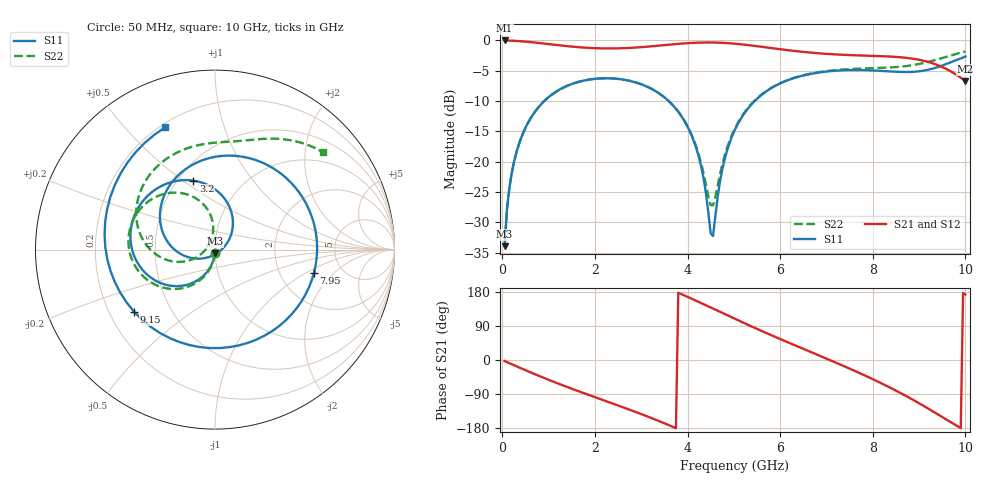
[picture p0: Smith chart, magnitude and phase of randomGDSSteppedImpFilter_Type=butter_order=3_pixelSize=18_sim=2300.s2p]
! freq	dB(S11)	phase(S11)	dB(S12)	phase(S12)
!  dB(S21)	phase(S21)	dB(S22)	phase(S22)
!S-par simulation data
#  GHz  S  DB  R 50
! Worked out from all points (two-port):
!   200 points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, 50 MHz to 10 GHz, reference 50 ohm
!   highest |S21| = -0.01 dB at 50 MHz (marker M1); lowest = -6.7 dB at 10 GHz (marker M2)
!   |S21| within 3 dB of the highest: start of sweep to 8.856 GHz
!   lowest |S11| = -33.9 dB at 50 MHz (marker M3), VSWR 1.04, Z = 49.9 - j2 ohm
!   |S11| at or under -10 dB: start of sweep to 906.3 MHz; 3.592 GHz to 5.45 GHz (1.858 GHz wide, 41.1 % of centre)
!   |S22| runs from -33.9 to -1.8 dB; largest |S21 - S12| = 0
!   S11 on the Smith chart (normalised r, x): 50 MHz: 1.00, -0.04; 3.2 GHz: 0.60, +0.55; 7.95 GHz: 3.11, -1.19; 9.15 GHz: 0.30, -0.31; 10 GHz: 0.22, +0.65
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0.05  -33.94 -92.9  -0.01 -2.8  -0.01 -2.8  -33.93 -92.7
0.1  -27.96 -95.9  -0.02 -5.5  -0.02 -5.5  -27.96 -95.5
0.2  -22.03 -101.7  -0.04 -10.9  -0.04 -10.9  -22.03 -100.8
0.5  -14.42 -118.6  -0.20 -26.9  -0.20 -26.9  -14.42 -116.2
1.1  -8.77 -150.3  -0.69 -57.1  -0.69 -57.1  -8.77 -145.0
1.75  -6.64 178.0  -1.18 -87.0  -1.18 -87.0  -6.64 -173.1
2.5  -6.35 142.6  -1.31 -120.0  -1.31 -120.0  -6.35 156.7
3.2  -7.90 107.4  -0.99 -152.2  -0.99 -152.2  -7.89 128.3
3.4  -8.81 96.5  -0.84 -161.9  -0.84 -161.9  -8.80 120.1
4.15  -16.90 47.9  -0.39 158.4  -0.39 158.4  -16.71 94.6
4.55  -32.26 -75.9  -0.34 135.7  -0.34 135.7  -27.20 159.5
4.75  -21.29 -145.0  -0.39 124.3  -0.39 124.3  -20.48 -159.3
5.05  -14.32 -172.6  -0.56 107.1  -0.56 107.1  -14.12 -159.8
5.85  -7.69 133.4  -1.30 63.3  -1.30 63.3  -7.63 170.3
6.7  -5.46 78.8  -2.04 19.2  -2.04 19.2  -5.41 138.5
7.45  -4.90 26.6  -2.40 -20.0  -2.40 -20.0  -4.75 113.6
7.95  -4.94 -13.2  -2.53 -47.7  -2.53 -47.7  -4.59 98.8
8.35  -5.10 -50.1  -2.65 -71.4  -2.65 -71.4  -4.47 88.2
8.75  -5.21 -93.1  -2.90 -97.0  -2.90 -97.0  -4.20 78.6
9.15  -4.91 -142.4  -3.45 -124.8  -3.45 -124.8  -3.64 69.1
9.55  -4.00 165.9  -4.56 -154.1  -4.56 -154.1  -2.79 57.9
10  -2.67 112.1  -6.71 172.9  -6.71 172.9  -1.83 42.1
